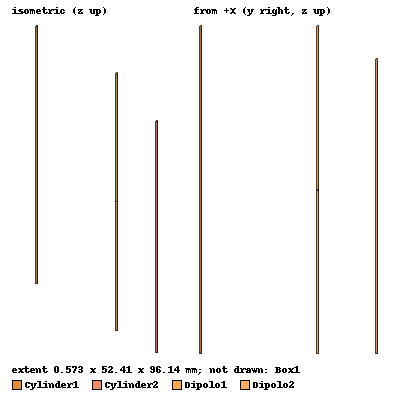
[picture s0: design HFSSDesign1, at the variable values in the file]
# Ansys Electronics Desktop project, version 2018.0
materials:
  vacuum: permittivity=1
  copper: permeability=0.999991 conductivity=58000000 mass_density=8933
  air: permittivity=1.0006 permeability=1.0000004 mass_density=1.1614

design HFSSDesign1 (HFSS, DrivenModal, model units mm)
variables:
  lambda = 192mm
  radio = 0.2865mm
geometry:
  Dipolo1 [copper] = cylinder(axis=Z, base_centre=(0mm, 0mm, 0mm), radius=radio, height=(lambda/2-radio)/2)
  Dipolo2 [copper] = cylinder(axis=Z, base_centre=(0mm, 0mm, -lambda/4-radio/2), radius=radio, height=(lambda/2-radio)/2)
  puerto = rectangle(corner=(0mm, -radio, -radio), y_size=2*radio, z_size=radio)
  Box1 [air] = box(corner=(-lambda/4-radio, -lambda/4-3*radio-0.18*lambda/2, -lambda/2-radio), size=(lambda/2+2*radio, 0.18*lambda/2+lambda/2+0.09*lambda/2+6*radio, lambda+radio))
  Cylinder1 [copper] = cylinder(axis=Z, base_centre=(0mm, -0.18*lambda, -lambda/4), radius=radio, height=lambda/2)
  Cylinder2 [copper] = cylinder(axis=Z, base_centre=(0mm, 0.09*lambda, -lambda/4), radius=radio, height=0.9*lambda/2)
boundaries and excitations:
  Rad1: Radiation Objects=Box1
  1: Lumped Port Objects=puerto Modes{Mode1{IntLine{middle of puerto.edge(z at corner) -> middle of puerto.edge(z opposite corner)} CharImp=Zpi RenormImp=50ohm}} Impedance=50ohm
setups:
  Setup1: HfssDriven Frequency=1.5GHz MaxDeltaS=0.02 MaximumPasses=6 MinimumPasses=1 MinimumConvergedPasses=1 PercentRefinement=30 BasisOrder=1 PortAccuracy=2
    sweep Sweep1: 1.3GHz to 1.7GHz step 0.05GHz; Type=Interpolating InterpTolerance=0.5 InterpMaxSolns=250 InterpUsePortImped=false PassivityErrorTolerance=0.0001
    sweep Sweep2: 1.3GHz to 1.6GHz step 0.05GHz; Type=Interpolating InterpTolerance=0.5 InterpMaxSolns=250 InterpUsePortImped=false PassivityErrorTolerance=0.0001
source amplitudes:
  1:1: 1W 0deg
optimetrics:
  ParametricSetup1: Parametric Sim._Setups=[Setup1]
    sweep lambda: LIN 150mm 220mm 5mm
    calculate dB(S(1,1)) on ? at Freq 1.5GHz
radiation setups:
  Infinite Sphere1: Infinite Sphere Theta=0deg..360deg step 2deg Phi=-180deg..180deg step 2deg
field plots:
  Mag_Jsurf1: Jsurf over Dipolo1.face(all 3) Dipolo2.face(all 3) on Setup1 : LastAdaptive at Freq=1.5GHz Phase=0deg
  Local_SAR1: SAR Field in Box1 on Setup1 : LastAdaptive at Freq=1.5GHz Phase=0deg
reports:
  S Parameter Plot 1: dB(S(1,1)) vs Freq on Setup1 : Sweep1 [lambda=all]; markers MX1 at x=1.5002793e+09
  Z Parameter Plot 1: re(Z(1,1)), im(Z(1,1)) vs Freq on Setup1 : Sweep1 [lambda=all]; markers MX1 at x=1.4997167e+09
  VSWR Plot 1: dB(VSWR(1)) vs Freq on Setup1 : Sweep1 [lambda=all]; markers MX1 at x=1.500554e+09
  S Parameter Plot 2: dB(S(1,1)) vs Freq on Setup1 : Sweep1 [lambda=all radio=all]; markers MX1 at x=1.5004402e+09
  Z Parameter Plot 2: re(Z(1,1)), im(Z(1,1)) vs Freq on Setup1 : Sweep1 [lambda=all radio=all]; markers MX1 at x=1.4998511e+09
